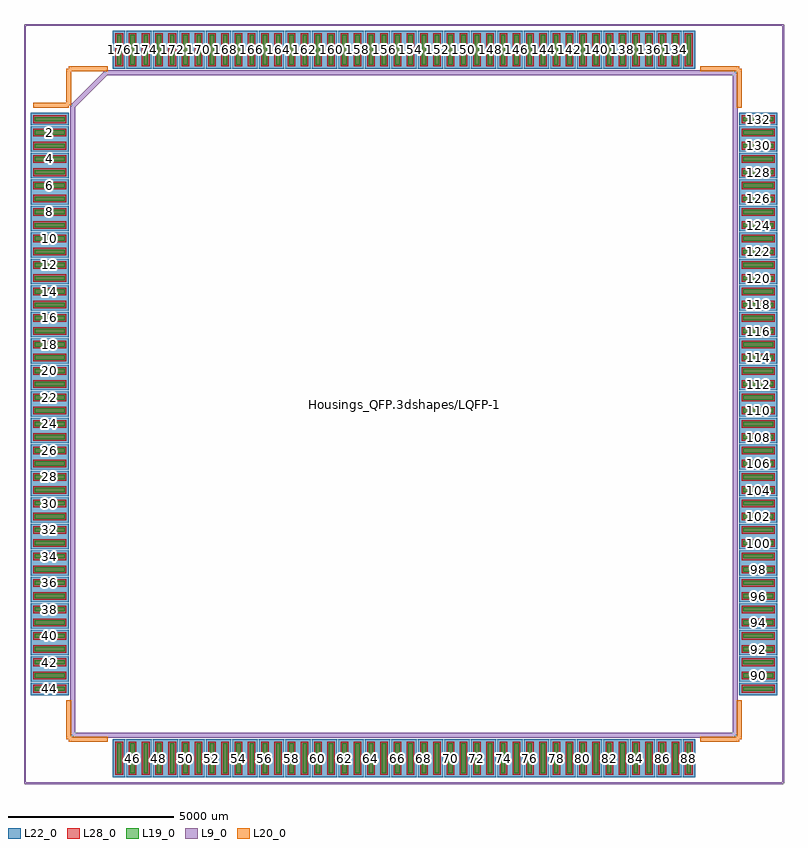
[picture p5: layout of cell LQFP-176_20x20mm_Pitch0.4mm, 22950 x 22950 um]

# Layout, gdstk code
import gdstk
lib = gdstk.Library(unit=1e-6, precision=1e-09)
def R(c, l, rs):  # rectangles x0, y0, x1, y1
    for r in rs: c.add(gdstk.rectangle(r[:2], r[2:], *l))
def A(c, l, x, y, w, h, nx, ny, dx, dy):  # array of equal rectangles
    R(c, l, [(x+i*dx, y+j*dy, x+i*dx+w, y+j*dy+h) for i in range(nx) for j in range(ny)])
L9_0 = (9, 0)
L19_0 = (19, 0)
L20_0 = (20, 0)
L22_0 = (22, 0)
L28_0 = (28, 0)

lqfp_176_20x20mm_pitch0_ = lib.new_cell('LQFP-176_20x20mm_Pitch0.4mm')
A(lqfp_176_20x20mm_pitch0_, L19_0, -8665, -11150, 130, 900, 44, 2, 400, 21400)
A(lqfp_176_20x20mm_pitch0_, L19_0, -11150, -8665, 900, 130, 1, 44, 0, 400)
A(lqfp_176_20x20mm_pitch0_, L19_0, 10250, -8665, 900, 130, 1, 44, 0, 400)
A(lqfp_176_20x20mm_pitch0_, L22_0, -8790, -11275, 380, 1150, 44, 2, 400, 21400)
A(lqfp_176_20x20mm_pitch0_, L22_0, -11275, -8790, 1150, 380, 1, 44, 0, 400)
A(lqfp_176_20x20mm_pitch0_, L22_0, 10125, -8790, 1150, 380, 1, 44, 0, 400)
A(lqfp_176_20x20mm_pitch0_, L28_0, -8715, -11200, 230, 1000, 44, 2, 400, 21400)
A(lqfp_176_20x20mm_pitch0_, L28_0, -11200, -8715, 1000, 230, 1, 44, 0, 400)
A(lqfp_176_20x20mm_pitch0_, L28_0, 10200, -8715, 1000, 230, 1, 44, 0, 400)
lqfp_176_20x20mm_pitch0_.add(gdstk.FlexPath([(-10125,9025),(-11200,9025)], 149.998, ends="flush", simple_path=True, layer=20, datatype=0))  # L20_0
lqfp_176_20x20mm_pitch0_.add(gdstk.FlexPath([(10125,10125),(8940,10125)], 149.998, ends="flush", simple_path=True, layer=20, datatype=0))  # L20_0
lqfp_176_20x20mm_pitch0_.add(gdstk.FlexPath([(10125,-10125),(8940,-10125)], 149.998, ends="flush", simple_path=True, layer=20, datatype=0))  # L20_0
lqfp_176_20x20mm_pitch0_.add(gdstk.FlexPath([(-10125,-10125),(-8940,-10125)], 149.998, ends="flush", simple_path=True, layer=20, datatype=0))  # L20_0
lqfp_176_20x20mm_pitch0_.add(gdstk.FlexPath([(-10125,10125),(-8940,10125)], 149.998, ends="flush", simple_path=True, layer=20, datatype=0))  # L20_0
lqfp_176_20x20mm_pitch0_.add(gdstk.FlexPath([(-10125,-10125),(-10125,-8940)], 149.998, ends="flush", simple_path=True, layer=20, datatype=0))  # L20_0
lqfp_176_20x20mm_pitch0_.add(gdstk.FlexPath([(10125,-10125),(10125,-8940)], 149.998, ends="flush", simple_path=True, layer=20, datatype=0))  # L20_0
lqfp_176_20x20mm_pitch0_.add(gdstk.FlexPath([(10125,10125),(10125,8940)], 149.998, ends="flush", simple_path=True, layer=20, datatype=0))  # L20_0
lqfp_176_20x20mm_pitch0_.add(gdstk.FlexPath([(-10125,10125),(-10125,9025)], 149.998, ends="flush", simple_path=True, layer=20, datatype=0))  # L20_0
lqfp_176_20x20mm_pitch0_.add(gdstk.FlexPath([(-11450,-11450),(11450,-11450)], 50, ends="flush", simple_path=True, layer=9, datatype=0))  # L9_0
lqfp_176_20x20mm_pitch0_.add(gdstk.FlexPath([(-11450,11450),(11450,11450)], 50, ends="flush", simple_path=True, layer=9, datatype=0))  # L9_0
lqfp_176_20x20mm_pitch0_.add(gdstk.FlexPath([(11450,11450),(11450,-11450)], 50, ends="flush", simple_path=True, layer=9, datatype=0))  # L9_0
lqfp_176_20x20mm_pitch0_.add(gdstk.FlexPath([(-11450,11450),(-11450,-11450)], 50, ends="flush", simple_path=True, layer=9, datatype=0))  # L9_0
lqfp_176_20x20mm_pitch0_.add(gdstk.FlexPath([(-10000,9000),(-9000,10000)], 149.998, ends="flush", simple_path=True, layer=9, datatype=0))  # L9_0
lqfp_176_20x20mm_pitch0_.add(gdstk.FlexPath([(-10000,-10000),(-10000,9000)], 149.998, ends="flush", simple_path=True, layer=9, datatype=0))  # L9_0
lqfp_176_20x20mm_pitch0_.add(gdstk.FlexPath([(10000,-10000),(-10000,-10000)], 149.998, ends="flush", simple_path=True, layer=9, datatype=0))  # L9_0
lqfp_176_20x20mm_pitch0_.add(gdstk.FlexPath([(10000,10000),(10000,-10000)], 149.998, ends="flush", simple_path=True, layer=9, datatype=0))  # L9_0
lqfp_176_20x20mm_pitch0_.add(gdstk.FlexPath([(-9000,10000),(10000,10000)], 149.998, ends="flush", simple_path=True, layer=9, datatype=0))  # L9_0
lqfp_176_20x20mm_pitch0_.add(gdstk.Label('Housings_QFP.3dshapes/LQFP-176_20x20mm_Pitch0.4mm.wrl', (0,0), layer=12, texttype=0))
lqfp_176_20x20mm_pitch0_.add(gdstk.Label('176', (-8600,10700), layer=28, texttype=0))
lqfp_176_20x20mm_pitch0_.add(gdstk.Label('175', (-8200,10700), layer=28, texttype=0))
lqfp_176_20x20mm_pitch0_.add(gdstk.Label('174', (-7800,10700), layer=28, texttype=0))
lqfp_176_20x20mm_pitch0_.add(gdstk.Label('173', (-7400,10700), layer=28, texttype=0))
lqfp_176_20x20mm_pitch0_.add(gdstk.Label('172', (-7000,10700), layer=28, texttype=0))
lqfp_176_20x20mm_pitch0_.add(gdstk.Label('171', (-6600,10700), layer=28, texttype=0))
lqfp_176_20x20mm_pitch0_.add(gdstk.Label('170', (-6200,10700), layer=28, texttype=0))
lqfp_176_20x20mm_pitch0_.add(gdstk.Label('169', (-5800,10700), layer=28, texttype=0))
lqfp_176_20x20mm_pitch0_.add(gdstk.Label('168', (-5400,10700), layer=28, texttype=0))
lqfp_176_20x20mm_pitch0_.add(gdstk.Label('167', (-5000,10700), layer=28, texttype=0))
lqfp_176_20x20mm_pitch0_.add(gdstk.Label('166', (-4600,10700), layer=28, texttype=0))
lqfp_176_20x20mm_pitch0_.add(gdstk.Label('165', (-4200,10700), layer=28, texttype=0))
lqfp_176_20x20mm_pitch0_.add(gdstk.Label('164', (-3800,10700), layer=28, texttype=0))
lqfp_176_20x20mm_pitch0_.add(gdstk.Label('163', (-3400,10700), layer=28, texttype=0))
lqfp_176_20x20mm_pitch0_.add(gdstk.Label('162', (-3000,10700), layer=28, texttype=0))
lqfp_176_20x20mm_pitch0_.add(gdstk.Label('161', (-2600,10700), layer=28, texttype=0))
lqfp_176_20x20mm_pitch0_.add(gdstk.Label('160', (-2200,10700), layer=28, texttype=0))
lqfp_176_20x20mm_pitch0_.add(gdstk.Label('159', (-1800,10700), layer=28, texttype=0))
lqfp_176_20x20mm_pitch0_.add(gdstk.Label('158', (-1400,10700), layer=28, texttype=0))
lqfp_176_20x20mm_pitch0_.add(gdstk.Label('157', (-1000,10700), layer=28, texttype=0))
lqfp_176_20x20mm_pitch0_.add(gdstk.Label('156', (-600,10700), layer=28, texttype=0))
lqfp_176_20x20mm_pitch0_.add(gdstk.Label('155', (-200,10700), layer=28, texttype=0))
lqfp_176_20x20mm_pitch0_.add(gdstk.Label('154', (200,10700), layer=28, texttype=0))
lqfp_176_20x20mm_pitch0_.add(gdstk.Label('153', (600,10700), layer=28, texttype=0))
lqfp_176_20x20mm_pitch0_.add(gdstk.Label('152', (1000,10700), layer=28, texttype=0))
lqfp_176_20x20mm_pitch0_.add(gdstk.Label('151', (1400,10700), layer=28, texttype=0))
lqfp_176_20x20mm_pitch0_.add(gdstk.Label('150', (1800,10700), layer=28, texttype=0))
lqfp_176_20x20mm_pitch0_.add(gdstk.Label('149', (2200,10700), layer=28, texttype=0))
lqfp_176_20x20mm_pitch0_.add(gdstk.Label('148', (2600,10700), layer=28, texttype=0))
lqfp_176_20x20mm_pitch0_.add(gdstk.Label('147', (3000,10700), layer=28, texttype=0))
lqfp_176_20x20mm_pitch0_.add(gdstk.Label('146', (3400,10700), layer=28, texttype=0))
lqfp_176_20x20mm_pitch0_.add(gdstk.Label('145', (3800,10700), layer=28, texttype=0))
lqfp_176_20x20mm_pitch0_.add(gdstk.Label('144', (4200,10700), layer=28, texttype=0))
lqfp_176_20x20mm_pitch0_.add(gdstk.Label('143', (4600,10700), layer=28, texttype=0))
lqfp_176_20x20mm_pitch0_.add(gdstk.Label('142', (5000,10700), layer=28, texttype=0))
lqfp_176_20x20mm_pitch0_.add(gdstk.Label('141', (5400,10700), layer=28, texttype=0))
lqfp_176_20x20mm_pitch0_.add(gdstk.Label('140', (5800,10700), layer=28, texttype=0))
lqfp_176_20x20mm_pitch0_.add(gdstk.Label('139', (6200,10700), layer=28, texttype=0))
lqfp_176_20x20mm_pitch0_.add(gdstk.Label('138', (6600,10700), layer=28, texttype=0))
lqfp_176_20x20mm_pitch0_.add(gdstk.Label('137', (7000,10700), layer=28, texttype=0))
lqfp_176_20x20mm_pitch0_.add(gdstk.Label('136', (7400,10700), layer=28, texttype=0))
lqfp_176_20x20mm_pitch0_.add(gdstk.Label('135', (7800,10700), layer=28, texttype=0))
lqfp_176_20x20mm_pitch0_.add(gdstk.Label('134', (8200,10700), layer=28, texttype=0))
lqfp_176_20x20mm_pitch0_.add(gdstk.Label('133', (8600,10700), layer=28, texttype=0))
lqfp_176_20x20mm_pitch0_.add(gdstk.Label('132', (10700,8600), layer=28, texttype=0))
lqfp_176_20x20mm_pitch0_.add(gdstk.Label('131', (10700,8200), layer=28, texttype=0))
lqfp_176_20x20mm_pitch0_.add(gdstk.Label('130', (10700,7800), layer=28, texttype=0))
lqfp_176_20x20mm_pitch0_.add(gdstk.Label('129', (10700,7400), layer=28, texttype=0))
lqfp_176_20x20mm_pitch0_.add(gdstk.Label('128', (10700,7000), layer=28, texttype=0))
lqfp_176_20x20mm_pitch0_.add(gdstk.Label('127', (10700,6600), layer=28, texttype=0))
lqfp_176_20x20mm_pitch0_.add(gdstk.Label('126', (10700,6200), layer=28, texttype=0))
lqfp_176_20x20mm_pitch0_.add(gdstk.Label('125', (10700,5800), layer=28, texttype=0))
lqfp_176_20x20mm_pitch0_.add(gdstk.Label('124', (10700,5400), layer=28, texttype=0))
lqfp_176_20x20mm_pitch0_.add(gdstk.Label('123', (10700,5000), layer=28, texttype=0))
lqfp_176_20x20mm_pitch0_.add(gdstk.Label('122', (10700,4600), layer=28, texttype=0))
lqfp_176_20x20mm_pitch0_.add(gdstk.Label('121', (10700,4200), layer=28, texttype=0))
lqfp_176_20x20mm_pitch0_.add(gdstk.Label('120', (10700,3800), layer=28, texttype=0))
lqfp_176_20x20mm_pitch0_.add(gdstk.Label('119', (10700,3400), layer=28, texttype=0))
lqfp_176_20x20mm_pitch0_.add(gdstk.Label('118', (10700,3000), layer=28, texttype=0))
lqfp_176_20x20mm_pitch0_.add(gdstk.Label('117', (10700,2600), layer=28, texttype=0))
lqfp_176_20x20mm_pitch0_.add(gdstk.Label('116', (10700,2200), layer=28, texttype=0))
lqfp_176_20x20mm_pitch0_.add(gdstk.Label('115', (10700,1800), layer=28, texttype=0))
lqfp_176_20x20mm_pitch0_.add(gdstk.Label('114', (10700,1400), layer=28, texttype=0))
lqfp_176_20x20mm_pitch0_.add(gdstk.Label('113', (10700,1000), layer=28, texttype=0))
lqfp_176_20x20mm_pitch0_.add(gdstk.Label('112', (10700,600), layer=28, texttype=0))
lqfp_176_20x20mm_pitch0_.add(gdstk.Label('111', (10700,200), layer=28, texttype=0))
lqfp_176_20x20mm_pitch0_.add(gdstk.Label('110', (10700,-200), layer=28, texttype=0))
lqfp_176_20x20mm_pitch0_.add(gdstk.Label('109', (10700,-600), layer=28, texttype=0))
lqfp_176_20x20mm_pitch0_.add(gdstk.Label('108', (10700,-1000), layer=28, texttype=0))
lqfp_176_20x20mm_pitch0_.add(gdstk.Label('107', (10700,-1400), layer=28, texttype=0))
lqfp_176_20x20mm_pitch0_.add(gdstk.Label('106', (10700,-1800), layer=28, texttype=0))
lqfp_176_20x20mm_pitch0_.add(gdstk.Label('105', (10700,-2200), layer=28, texttype=0))
lqfp_176_20x20mm_pitch0_.add(gdstk.Label('104', (10700,-2600), layer=28, texttype=0))
lqfp_176_20x20mm_pitch0_.add(gdstk.Label('103', (10700,-3000), layer=28, texttype=0))
lqfp_176_20x20mm_pitch0_.add(gdstk.Label('102', (10700,-3400), layer=28, texttype=0))
lqfp_176_20x20mm_pitch0_.add(gdstk.Label('101', (10700,-3800), layer=28, texttype=0))
lqfp_176_20x20mm_pitch0_.add(gdstk.Label('100', (10700,-4200), layer=28, texttype=0))
lqfp_176_20x20mm_pitch0_.add(gdstk.Label('99', (10700,-4600), layer=28, texttype=0))
lqfp_176_20x20mm_pitch0_.add(gdstk.Label('98', (10700,-5000), layer=28, texttype=0))
lqfp_176_20x20mm_pitch0_.add(gdstk.Label('97', (10700,-5400), layer=28, texttype=0))
lqfp_176_20x20mm_pitch0_.add(gdstk.Label('96', (10700,-5800), layer=28, texttype=0))
lqfp_176_20x20mm_pitch0_.add(gdstk.Label('95', (10700,-6200), layer=28, texttype=0))
lqfp_176_20x20mm_pitch0_.add(gdstk.Label('94', (10700,-6600), layer=28, texttype=0))
lqfp_176_20x20mm_pitch0_.add(gdstk.Label('93', (10700,-7000), layer=28, texttype=0))
lqfp_176_20x20mm_pitch0_.add(gdstk.Label('92', (10700,-7400), layer=28, texttype=0))
lqfp_176_20x20mm_pitch0_.add(gdstk.Label('91', (10700,-7800), layer=28, texttype=0))
lqfp_176_20x20mm_pitch0_.add(gdstk.Label('90', (10700,-8200), layer=28, texttype=0))
lqfp_176_20x20mm_pitch0_.add(gdstk.Label('89', (10700,-8600), layer=28, texttype=0))
lqfp_176_20x20mm_pitch0_.add(gdstk.Label('88', (8600,-10700), layer=28, texttype=0))
lqfp_176_20x20mm_pitch0_.add(gdstk.Label('87', (8200,-10700), layer=28, texttype=0))
lqfp_176_20x20mm_pitch0_.add(gdstk.Label('86', (7800,-10700), layer=28, texttype=0))
lqfp_176_20x20mm_pitch0_.add(gdstk.Label('85', (7400,-10700), layer=28, texttype=0))
lqfp_176_20x20mm_pitch0_.add(gdstk.Label('84', (7000,-10700), layer=28, texttype=0))
lqfp_176_20x20mm_pitch0_.add(gdstk.Label('83', (6600,-10700), layer=28, texttype=0))
lqfp_176_20x20mm_pitch0_.add(gdstk.Label('82', (6200,-10700), layer=28, texttype=0))
lqfp_176_20x20mm_pitch0_.add(gdstk.Label('81', (5800,-10700), layer=28, texttype=0))
lqfp_176_20x20mm_pitch0_.add(gdstk.Label('80', (5400,-10700), layer=28, texttype=0))
lqfp_176_20x20mm_pitch0_.add(gdstk.Label('79', (5000,-10700), layer=28, texttype=0))
lqfp_176_20x20mm_pitch0_.add(gdstk.Label('78', (4600,-10700), layer=28, texttype=0))
lqfp_176_20x20mm_pitch0_.add(gdstk.Label('77', (4200,-10700), layer=28, texttype=0))
lqfp_176_20x20mm_pitch0_.add(gdstk.Label('76', (3800,-10700), layer=28, texttype=0))
lqfp_176_20x20mm_pitch0_.add(gdstk.Label('75', (3400,-10700), layer=28, texttype=0))
lqfp_176_20x20mm_pitch0_.add(gdstk.Label('74', (3000,-10700), layer=28, texttype=0))
lqfp_176_20x20mm_pitch0_.add(gdstk.Label('73', (2600,-10700), layer=28, texttype=0))
lqfp_176_20x20mm_pitch0_.add(gdstk.Label('72', (2200,-10700), layer=28, texttype=0))
lqfp_176_20x20mm_pitch0_.add(gdstk.Label('71', (1800,-10700), layer=28, texttype=0))
lqfp_176_20x20mm_pitch0_.add(gdstk.Label('70', (1400,-10700), layer=28, texttype=0))
lqfp_176_20x20mm_pitch0_.add(gdstk.Label('69', (1000,-10700), layer=28, texttype=0))
lqfp_176_20x20mm_pitch0_.add(gdstk.Label('68', (600,-10700), layer=28, texttype=0))
lqfp_176_20x20mm_pitch0_.add(gdstk.Label('67', (200,-10700), layer=28, texttype=0))
lqfp_176_20x20mm_pitch0_.add(gdstk.Label('66', (-200,-10700), layer=28, texttype=0))
lqfp_176_20x20mm_pitch0_.add(gdstk.Label('65', (-600,-10700), layer=28, texttype=0))
lqfp_176_20x20mm_pitch0_.add(gdstk.Label('64', (-1000,-10700), layer=28, texttype=0))
lqfp_176_20x20mm_pitch0_.add(gdstk.Label('63', (-1400,-10700), layer=28, texttype=0))
lqfp_176_20x20mm_pitch0_.add(gdstk.Label('62', (-1800,-10700), layer=28, texttype=0))
lqfp_176_20x20mm_pitch0_.add(gdstk.Label('61', (-2200,-10700), layer=28, texttype=0))
lqfp_176_20x20mm_pitch0_.add(gdstk.Label('60', (-2600,-10700), layer=28, texttype=0))
lqfp_176_20x20mm_pitch0_.add(gdstk.Label('59', (-3000,-10700), layer=28, texttype=0))
lqfp_176_20x20mm_pitch0_.add(gdstk.Label('58', (-3400,-10700), layer=28, texttype=0))
lqfp_176_20x20mm_pitch0_.add(gdstk.Label('57', (-3800,-10700), layer=28, texttype=0))
lqfp_176_20x20mm_pitch0_.add(gdstk.Label('56', (-4200,-10700), layer=28, texttype=0))
lqfp_176_20x20mm_pitch0_.add(gdstk.Label('55', (-4600,-10700), layer=28, texttype=0))
lqfp_176_20x20mm_pitch0_.add(gdstk.Label('54', (-5000,-10700), layer=28, texttype=0))
lqfp_176_20x20mm_pitch0_.add(gdstk.Label('53', (-5400,-10700), layer=28, texttype=0))
lqfp_176_20x20mm_pitch0_.add(gdstk.Label('52', (-5800,-10700), layer=28, texttype=0))
lqfp_176_20x20mm_pitch0_.add(gdstk.Label('51', (-6200,-10700), layer=28, texttype=0))
lqfp_176_20x20mm_pitch0_.add(gdstk.Label('50', (-6600,-10700), layer=28, texttype=0))
lqfp_176_20x20mm_pitch0_.add(gdstk.Label('49', (-7000,-10700), layer=28, texttype=0))
lqfp_176_20x20mm_pitch0_.add(gdstk.Label('48', (-7400,-10700), layer=28, texttype=0))
lqfp_176_20x20mm_pitch0_.add(gdstk.Label('47', (-7800,-10700), layer=28, texttype=0))
lqfp_176_20x20mm_pitch0_.add(gdstk.Label('46', (-8200,-10700), layer=28, texttype=0))
lqfp_176_20x20mm_pitch0_.add(gdstk.Label('45', (-8600,-10700), layer=28, texttype=0))
lqfp_176_20x20mm_pitch0_.add(gdstk.Label('44', (-10700,-8600), layer=28, texttype=0))
lqfp_176_20x20mm_pitch0_.add(gdstk.Label('43', (-10700,-8200), layer=28, texttype=0))
lqfp_176_20x20mm_pitch0_.add(gdstk.Label('42', (-10700,-7800), layer=28, texttype=0))
lqfp_176_20x20mm_pitch0_.add(gdstk.Label('41', (-10700,-7400), layer=28, texttype=0))
lqfp_176_20x20mm_pitch0_.add(gdstk.Label('40', (-10700,-7000), layer=28, texttype=0))
lqfp_176_20x20mm_pitch0_.add(gdstk.Label('39', (-10700,-6600), layer=28, texttype=0))
lqfp_176_20x20mm_pitch0_.add(gdstk.Label('38', (-10700,-6200), layer=28, texttype=0))
lqfp_176_20x20mm_pitch0_.add(gdstk.Label('37', (-10700,-5800), layer=28, texttype=0))
lqfp_176_20x20mm_pitch0_.add(gdstk.Label('36', (-10700,-5400), layer=28, texttype=0))
lqfp_176_20x20mm_pitch0_.add(gdstk.Label('35', (-10700,-5000), layer=28, texttype=0))
lqfp_176_20x20mm_pitch0_.add(gdstk.Label('34', (-10700,-4600), layer=28, texttype=0))
lqfp_176_20x20mm_pitch0_.add(gdstk.Label('33', (-10700,-4200), layer=28, texttype=0))
lqfp_176_20x20mm_pitch0_.add(gdstk.Label('32', (-10700,-3800), layer=28, texttype=0))
lqfp_176_20x20mm_pitch0_.add(gdstk.Label('31', (-10700,-3400), layer=28, texttype=0))
lqfp_176_20x20mm_pitch0_.add(gdstk.Label('30', (-10700,-3000), layer=28, texttype=0))
lqfp_176_20x20mm_pitch0_.add(gdstk.Label('29', (-10700,-2600), layer=28, texttype=0))
lqfp_176_20x20mm_pitch0_.add(gdstk.Label('28', (-10700,-2200), layer=28, texttype=0))
lqfp_176_20x20mm_pitch0_.add(gdstk.Label('27', (-10700,-1800), layer=28, texttype=0))
lqfp_176_20x20mm_pitch0_.add(gdstk.Label('26', (-10700,-1400), layer=28, texttype=0))
lqfp_176_20x20mm_pitch0_.add(gdstk.Label('25', (-10700,-1000), layer=28, texttype=0))
lqfp_176_20x20mm_pitch0_.add(gdstk.Label('24', (-10700,-600), layer=28, texttype=0))
lqfp_176_20x20mm_pitch0_.add(gdstk.Label('23', (-10700,-200), layer=28, texttype=0))
lqfp_176_20x20mm_pitch0_.add(gdstk.Label('22', (-10700,200), layer=28, texttype=0))
lqfp_176_20x20mm_pitch0_.add(gdstk.Label('21', (-10700,600), layer=28, texttype=0))
lqfp_176_20x20mm_pitch0_.add(gdstk.Label('20', (-10700,1000), layer=28, texttype=0))
lqfp_176_20x20mm_pitch0_.add(gdstk.Label('19', (-10700,1400), layer=28, texttype=0))
lqfp_176_20x20mm_pitch0_.add(gdstk.Label('18', (-10700,1800), layer=28, texttype=0))
lqfp_176_20x20mm_pitch0_.add(gdstk.Label('17', (-10700,2200), layer=28, texttype=0))
lqfp_176_20x20mm_pitch0_.add(gdstk.Label('16', (-10700,2600), layer=28, texttype=0))
lqfp_176_20x20mm_pitch0_.add(gdstk.Label('15', (-10700,3000), layer=28, texttype=0))
lqfp_176_20x20mm_pitch0_.add(gdstk.Label('14', (-10700,3400), layer=28, texttype=0))
lqfp_176_20x20mm_pitch0_.add(gdstk.Label('13', (-10700,3800), layer=28, texttype=0))
lqfp_176_20x20mm_pitch0_.add(gdstk.Label('12', (-10700,4200), layer=28, texttype=0))
lqfp_176_20x20mm_pitch0_.add(gdstk.Label('11', (-10700,4600), layer=28, texttype=0))
lqfp_176_20x20mm_pitch0_.add(gdstk.Label('10', (-10700,5000), layer=28, texttype=0))
lqfp_176_20x20mm_pitch0_.add(gdstk.Label('9', (-10700,5400), layer=28, texttype=0))
lqfp_176_20x20mm_pitch0_.add(gdstk.Label('8', (-10700,5800), layer=28, texttype=0))
lqfp_176_20x20mm_pitch0_.add(gdstk.Label('7', (-10700,6200), layer=28, texttype=0))
lqfp_176_20x20mm_pitch0_.add(gdstk.Label('6', (-10700,6600), layer=28, texttype=0))
lqfp_176_20x20mm_pitch0_.add(gdstk.Label('5', (-10700,7000), layer=28, texttype=0))
lqfp_176_20x20mm_pitch0_.add(gdstk.Label('4', (-10700,7400), layer=28, texttype=0))
lqfp_176_20x20mm_pitch0_.add(gdstk.Label('3', (-10700,7800), layer=28, texttype=0))
lqfp_176_20x20mm_pitch0_.add(gdstk.Label('2', (-10700,8200), layer=28, texttype=0))
lqfp_176_20x20mm_pitch0_.add(gdstk.Label('1', (-10700,8600), layer=28, texttype=0))
lqfp_176_20x20mm_pitch0_.add(gdstk.Label('%R', (0,0), layer=9, texttype=0))
lqfp_176_20x20mm_pitch0_.add(gdstk.Label('type', (0,-12200), layer=9, texttype=0))
lqfp_176_20x20mm_pitch0_.add(gdstk.Label('devicename', (0,12200), layer=9, texttype=0))

lib.write_gds('LQFP-176_20x20mm_Pitch0.4mm.gds')
